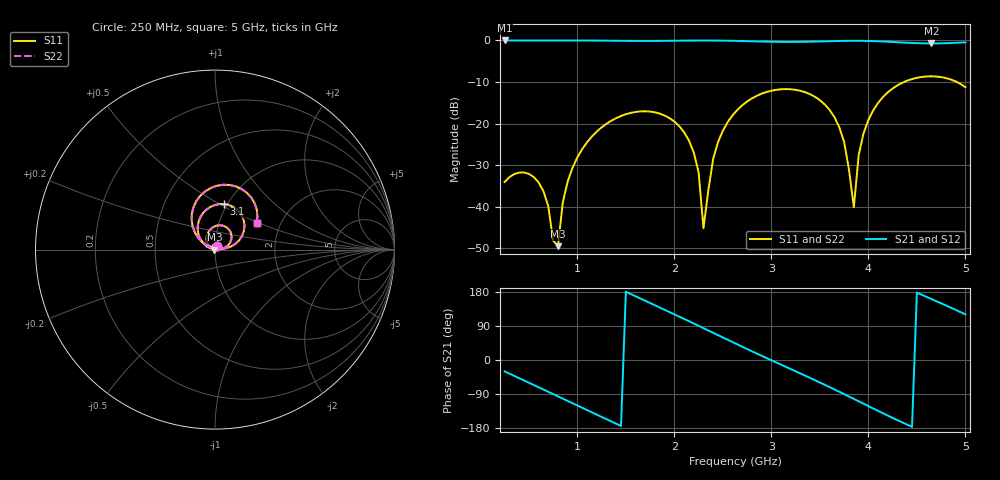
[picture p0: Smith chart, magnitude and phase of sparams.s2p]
! NobuRF kit-ex37-line48: ports 1 "p1", 2 "p2"; 4800 + 4800 steps
# GHz S RI R 50
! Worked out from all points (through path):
!   96 points, 250 MHz to 5 GHz, reference 50 ohm
!   highest |S21| = 0.00 dB at 250 MHz (marker M1); lowest = -0.7 dB at 4.65 GHz (marker M2)
!   group delay of S21, straight-line fit = 334 ps
!   lowest |S11| = -49.5 dB at 800 MHz (marker M3), VSWR 1.01, Z = 49.7 - j0.0216 ohm
!   |S11| at or under -10 dB: start of sweep to 4.367 GHz; 4.912 GHz to end of sweep
!   |S22| runs from -49.5 to -8.6 dB; largest |S21 - S12| = 2.7e-08
!   S11 on the Smith chart (normalised r, x): 250 MHz: 1.02, +0.04; 3.1 GHz: 0.97, +0.53; 5 GHz: 1.51, +0.48
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0.25  0.00873 0.0178  0.8665 -0.5  0.8665 -0.5  0.00873 0.0178
0.6  0.0188 0.00573  0.31 -0.9502  0.31 -0.9502  0.0188 0.00573
0.8  -0.00335 -0.000217  -0.1035 -0.9944  -0.1035 -0.9944  -0.00335 -0.000218
0.9  -0.0192 0.00586  -0.3086 -0.9509  -0.3086 -0.9509  -0.0192 0.00586
1.05  -0.0399 0.0291  -0.588 -0.8074  -0.588 -0.8074  -0.0399 0.0291
1.45  -0.0139 0.1227  -0.9853 -0.1022  -0.9853 -0.1022  -0.0139 0.1227
1.85  0.0856 0.1003  -0.7398 0.6563  -0.7398 0.6563  0.0856 0.1003
2.2  0.0446 0.00552  -0.1087 0.9912  -0.1087 0.9912  0.0446 0.00552
2.25  0.0258 0.000489  -0.00263 0.9978  -0.00263 0.9978  0.0258 0.000489
2.3  0.0055 -0.000294  0.1039 0.9927  0.1039 0.9927  0.0055 -0.000293
2.4  -0.0357 0.012  0.3124 0.9473  0.3124 0.9473  -0.0357 0.012
2.65  -0.0964 0.1105  0.7441 0.6495  0.7441 0.6495  -0.0964 0.1105
3.1  0.0514 0.2537  0.939 -0.206  0.939 -0.206  0.0514 0.2537
3.45  0.1641 0.131  0.5789 -0.7782  0.5789 -0.7782  0.1641 0.131
3.7  0.089 0.0172  0.1061 -0.9808  0.1061 -0.9808  0.089 0.0172
3.75  0.0595 0.00743  -0.00125 -0.9888  -0.00125 -0.9888  0.0595 0.00743
3.85  -0.00503 0.00848  -0.2173 -0.9668  -0.2173 -0.9668  -0.00503 0.00848
3.9  -0.0368 0.0199  -0.3224 -0.9365  -0.3224 -0.9365  -0.0368 0.0199
3.95  -0.066 0.0383  -0.4232 -0.8938  -0.4232 -0.8938  -0.066 0.0383
4.25  -0.1202 0.2357  -0.8533 -0.4391  -0.8533 -0.4391  -0.1202 0.2357
4.65  0.1165 0.3519  -0.8706 0.302  -0.8706 0.302  0.1165 0.3519
5  0.2317 0.1468  -0.48 0.8204  -0.48 0.8204  0.2317 0.1468
